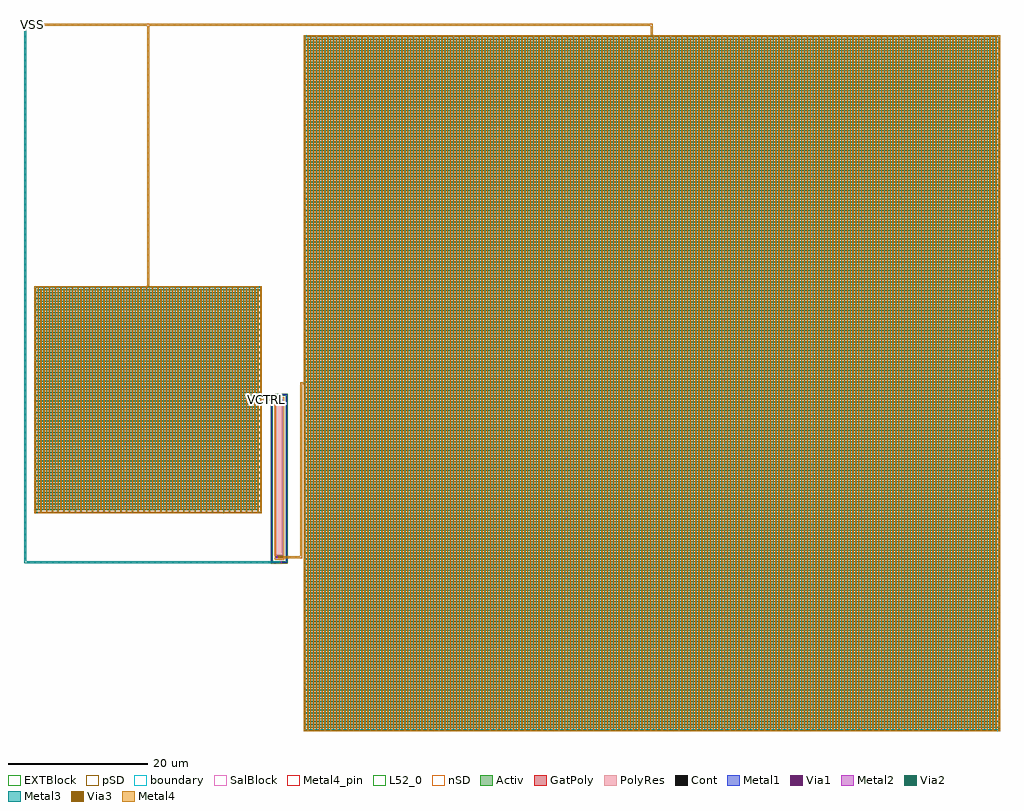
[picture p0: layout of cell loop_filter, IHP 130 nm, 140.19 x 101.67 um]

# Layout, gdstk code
from math import pi, radians
import gdstk
lib = gdstk.Library(unit=1e-6, precision=1e-09)
def R(c, l, rs):  # rectangles x0, y0, x1, y1
    for r in rs: c.add(gdstk.rectangle(r[:2], r[2:], *l))
def A(c, l, x, y, w, h, nx, ny, dx, dy):  # array of equal rectangles
    R(c, l, [(x+i*dx, y+j*dy, x+i*dx+w, y+j*dy+h) for i in range(nx) for j in range(ny)])
Activ = (1, 0)
GatPoly = (5, 0)
Cont = (6, 0)
nSD = (7, 0)
Metal1 = (8, 0)
Metal2 = (10, 0)
pSD = (14, 0)
Via1 = (19, 0)
SalBlock = (28, 0)
Via2 = (29, 0)
Metal3 = (30, 0)
Via3 = (49, 0)
Metal4 = (50, 0)
Metal4_pin = (50, 2)
L52_0 = (52, 0)
EXTBlock = (111, 0)
PolyRes = (128, 0)
boundary = (189, 4)

dev_rhigh_w1_l22p08 = lib.new_cell('dev_rhigh_w1_l22p08')
R(dev_rhigh_w1_l22p08, Activ, [(-1.21,-12.18,1.21,-11.88), (-1.21,-11.88,-0.91,11.88), (0.91,-11.88,1.21,11.88), (-1.21,11.88,1.21,12.18)])
R(dev_rhigh_w1_l22p08, GatPoly, [(-0.5,-11.47,0.5,-11.04), (-0.5,11.04,0.5,11.47)])
A(dev_rhigh_w1_l22p08, Cont, -0.59, -12.11, 0.16, 0.16, 4, 2, 0.34, 24.06)
A(dev_rhigh_w1_l22p08, Cont, -1.14, -11.64, 0.16, 0.16, 1, 69, 0, 0.34)
A(dev_rhigh_w1_l22p08, Cont, 0.98, -11.64, 0.16, 0.16, 1, 69, 0, 0.34)
A(dev_rhigh_w1_l22p08, Cont, -0.42, -11.4, 0.16, 0.16, 3, 2, 0.34, 22.64)
R(dev_rhigh_w1_l22p08, nSD, [(-0.68,-11.65,0.68,11.65)])
R(dev_rhigh_w1_l22p08, Metal1, [(-1.14,-12.11,1.14,-11.95), (-1.14,-11.95,-0.98,11.95), (0.98,-11.95,1.14,11.95), (-0.48,-11.45,0.48,-11.135), (-0.48,11.135,0.48,11.45), (-1.14,11.95,1.14,12.11)])
R(dev_rhigh_w1_l22p08, Metal2, [(-0.43,-11.465,0.43,-11.095), (-0.43,11.095,0.43,11.465)])
R(dev_rhigh_w1_l22p08, pSD, [(-1.24,-12.21,1.24,12.21)])
R(dev_rhigh_w1_l22p08, Via1, [(-0.3,-11.375,-0.11,-11.185), (0.11,-11.375,0.3,-11.185), (-0.3,11.185,-0.11,11.375), (0.11,11.185,0.3,11.375)])
R(dev_rhigh_w1_l22p08, SalBlock, [(-0.7,-11.04,0.7,11.04)])
R(dev_rhigh_w1_l22p08, L52_0, [(-0.5,-11.04,0.5,11.04)])
R(dev_rhigh_w1_l22p08, EXTBlock, [(-0.68,-11.65,0.68,11.65)])
R(dev_rhigh_w1_l22p08, PolyRes, [(-0.5,-11.04,0.5,11.04)])
dev_rhigh_w1_l22p08.add(gdstk.Label('B', (0,-12.03), layer=8, texttype=25))
dev_rhigh_w1_l22p08.add(gdstk.Label('R1', (0,11.32), layer=8, texttype=25))
dev_rhigh_w1_l22p08.add(gdstk.Label('R2', (0,-11.32), layer=8, texttype=25))

dev_cap_cmomf_w100_l100 = lib.new_cell('dev_cap_cmomf_w100_l100')
A(dev_cap_cmomf_w100_l100, Metal2, 0.495, 0.2, 0.2, 99.385, 121, 1, 0.82, 0)
A(dev_cap_cmomf_w100_l100, Metal2, 0.905, 0.415, 0.2, 99.385, 121, 1, 0.82, 0)
R(dev_cap_cmomf_w100_l100, Metal2, [(0,0,99.505,0.2), (99.715,0,100,99.8), (0,0.2,0.285,100), (0.495,99.8,100,100)])
A(dev_cap_cmomf_w100_l100, Via2, 0.705, 0.005, 0.19, 0.19, 241, 1, 0.41, 0)
A(dev_cap_cmomf_w100_l100, Via2, 0.005, 0.605, 0.19, 0.19, 1, 241, 0, 0.41)
A(dev_cap_cmomf_w100_l100, Via2, 99.805, 0.805, 0.19, 0.19, 1, 241, 0, 0.41)
A(dev_cap_cmomf_w100_l100, Via2, 0.805, 99.805, 0.19, 0.19, 241, 1, 0.41, 0)
A(dev_cap_cmomf_w100_l100, Metal3, 0, 0.285, 0.2, 0.62, 1, 121, 0, 0.82)
A(dev_cap_cmomf_w100_l100, Metal3, 0.41, 0.495, 99.59, 0.2, 1, 121, 0, 0.82)
A(dev_cap_cmomf_w100_l100, Metal3, 99.8, 0.695, 0.2, 0.62, 1, 121, 0, 0.82)
A(dev_cap_cmomf_w100_l100, Metal3, 0, 0.905, 99.59, 0.2, 1, 121, 0, 0.82)
R(dev_cap_cmomf_w100_l100, Metal3, [(0,0,100,0.285), (0,99.715,100,100)])
A(dev_cap_cmomf_w100_l100, Via3, 0.705, 0.005, 0.19, 0.19, 241, 1, 0.41, 0)
A(dev_cap_cmomf_w100_l100, Via3, 0.005, 0.605, 0.19, 0.19, 1, 241, 0, 0.41)
A(dev_cap_cmomf_w100_l100, Via3, 99.805, 0.805, 0.19, 0.19, 1, 241, 0, 0.41)
A(dev_cap_cmomf_w100_l100, Via3, 0.805, 99.805, 0.19, 0.19, 241, 1, 0.41, 0)
A(dev_cap_cmomf_w100_l100, Metal4, 0.495, 0.2, 0.2, 99.39, 121, 1, 0.82, 0)
A(dev_cap_cmomf_w100_l100, Metal4, 0.905, 0.41, 0.2, 99.39, 121, 1, 0.82, 0)
R(dev_cap_cmomf_w100_l100, Metal4, [(0,0,99.505,0.2), (99.715,0,100,99.8), (0,0.2,0.285,100), (0.495,99.8,100,100)])
R(dev_cap_cmomf_w100_l100, boundary, [(0,0,100,100)])
dev_cap_cmomf_w100_l100.add(gdstk.Label('c1', (0.01,50), layer=50, texttype=25))
dev_cap_cmomf_w100_l100.add(gdstk.Label('c2', (50,99.99), layer=50, texttype=25))

dev_cap_cmomf_w32p6431_l = lib.new_cell('dev_cap_cmomf_w32p6431_l32p6431')
A(dev_cap_cmomf_w32p6431_l, Metal2, 0.435, 0.2, 0.2, 32.03, 39, 1, 0.82, 0)
A(dev_cap_cmomf_w32p6431_l, Metal2, 0.845, 0.415, 0.2, 32.03, 39, 1, 0.82, 0)
R(dev_cap_cmomf_w32p6431_l, Metal2, [(0,0,32.205,0.2), (32.415,0,32.645,32.445), (0,0.2,0.225,32.645), (0.435,32.445,32.645,32.645)])
A(dev_cap_cmomf_w32p6431_l, Via2, 0.645, 0.005, 0.19, 0.19, 77, 1, 0.41, 0)
A(dev_cap_cmomf_w32p6431_l, Via2, 0.005, 0.545, 0.19, 0.19, 1, 77, 0, 0.41)
A(dev_cap_cmomf_w32p6431_l, Via2, 32.45, 0.745, 0.19, 0.19, 1, 77, 0, 0.41)
A(dev_cap_cmomf_w32p6431_l, Via2, 0.745, 32.45, 0.19, 0.19, 77, 1, 0.41, 0)
A(dev_cap_cmomf_w32p6431_l, Metal3, 0, 0.225, 0.2, 0.62, 1, 39, 0, 0.82)
A(dev_cap_cmomf_w32p6431_l, Metal3, 0.41, 0.435, 32.235, 0.2, 1, 39, 0, 0.82)
A(dev_cap_cmomf_w32p6431_l, Metal3, 32.445, 0.635, 0.2, 0.62, 1, 39, 0, 0.82)
A(dev_cap_cmomf_w32p6431_l, Metal3, 0, 0.845, 32.235, 0.2, 1, 39, 0, 0.82)
R(dev_cap_cmomf_w32p6431_l, Metal3, [(0,0,32.645,0.225), (0,32.415,32.645,32.645)])
A(dev_cap_cmomf_w32p6431_l, Via3, 0.645, 0.005, 0.19, 0.19, 77, 1, 0.41, 0)
A(dev_cap_cmomf_w32p6431_l, Via3, 0.005, 0.545, 0.19, 0.19, 1, 77, 0, 0.41)
A(dev_cap_cmomf_w32p6431_l, Via3, 32.45, 0.745, 0.19, 0.19, 1, 77, 0, 0.41)
A(dev_cap_cmomf_w32p6431_l, Via3, 0.745, 32.45, 0.19, 0.19, 77, 1, 0.41, 0)
A(dev_cap_cmomf_w32p6431_l, Metal4, 0.435, 0.2, 0.2, 32.035, 39, 1, 0.82, 0)
A(dev_cap_cmomf_w32p6431_l, Metal4, 0.845, 0.41, 0.2, 32.035, 39, 1, 0.82, 0)
R(dev_cap_cmomf_w32p6431_l, Metal4, [(0,0,32.205,0.2), (32.415,0,32.645,32.445), (0,0.2,0.225,32.645), (0.435,32.445,32.645,32.645)])
R(dev_cap_cmomf_w32p6431_l, boundary, [(0,0,32.645,32.645)])
dev_cap_cmomf_w32p6431_l.add(gdstk.Label('c1', (0.01,16.32), layer=50, texttype=25))
dev_cap_cmomf_w32p6431_l.add(gdstk.Label('c2', (16.32,32.635), layer=50, texttype=25))

loop_filter = lib.new_cell('loop_filter')
R(loop_filter, Metal1, [(1.375,49.145,1.665,49.435)])
R(loop_filter, Metal2, [(1.375,49.145,1.875,49.435), (1.375,49.855,1.875,50.145), (1.375,72.495,1.875,72.785)])
R(loop_filter, Via1, [(1.425,49.195,1.615,49.385)])
R(loop_filter, Via2, [(1.425,49.195,1.615,49.385), (1.425,49.905,1.615,50.095), (1.425,72.545,1.615,72.735)])
R(loop_filter, Metal3, [(-35.145,49.145,1.665,49.435), (-35.145,49.435,-34.835,126.665), (1.375,49.855,1.875,50.145), (1.375,72.495,1.875,72.785)])
R(loop_filter, Via3, [(1.425,49.905,1.615,50.095), (1.425,72.545,1.615,72.735), (-35.075,126.425,-34.885,126.615)])
R(loop_filter, Metal4, [(1.375,49.855,4.79,50.145), (4.5,50.145,4.79,74.855), (-1.01,72.495,1.665,72.785), (4.5,74.855,5.05,75.145), (-17.465,88.955,-17.175,126.355), (54.895,124.99,55.185,126.355), (-35.145,126.355,55.185,126.645)])
R(loop_filter, Metal4_pin, [(-0.5,72.495,-0.21,72.785), (-34,126.355,-33.71,126.645)])
loop_filter.add(gdstk.Reference(dev_rhigh_w1_l22p08, (1.52,61.32)))
loop_filter.add(gdstk.Reference(dev_cap_cmomf_w100_l100, (5.04,25)))
loop_filter.add(gdstk.Reference(dev_cap_cmomf_w32p6431_l, (-1,56.32), rotation=pi, x_reflection=True))
loop_filter.add(gdstk.Label('VCTRL', (-0.355,72.64), layer=50, texttype=25))
loop_filter.add(gdstk.Label('VSS', (-33.855,126.5), layer=50, texttype=25))

lib.write_gds('loop_filter.gds')
